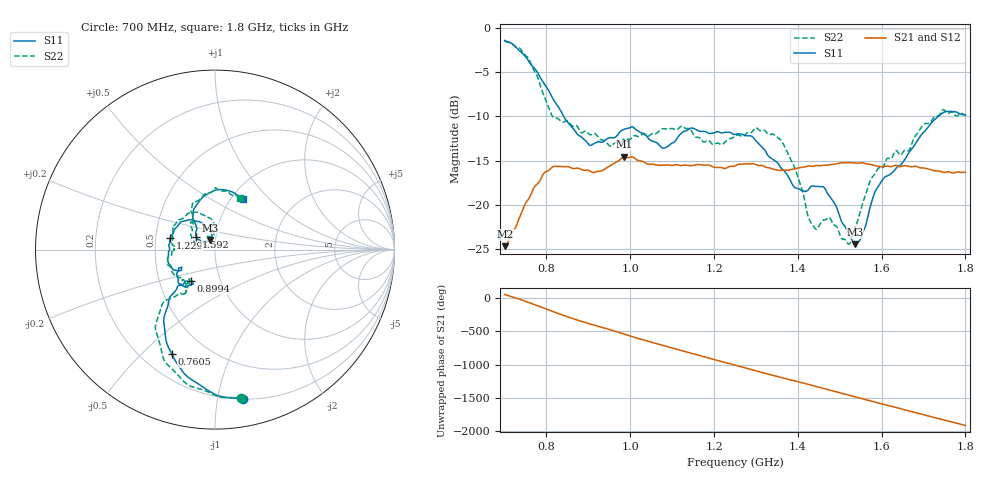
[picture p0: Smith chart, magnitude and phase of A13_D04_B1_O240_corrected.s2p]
! Created with skrf 1.9.0 (http://scikit-rf.org).
# Hz S RI R 50.0
!freq ReS11 ImS11 ReS21 ImS21 ReS12 ImS12 ReS22 ImS22
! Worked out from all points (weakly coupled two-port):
!   1601 points, 700 MHz to 1.8 GHz, reference 50 ohm
!   highest |S21| = -14.57 dB at 986 MHz (marker M1); lowest = -24.7 dB at 701.4 MHz (marker M2)
!   lowest |S11| = -24.5 dB at 1.537 GHz (marker M3), VSWR 1.13, Z = 47.1 + j5.08 ohm
!   |S11| at or under -10 dB: 840.6 MHz to 1.736 GHz (895.1 MHz wide, 69.5 % of centre)
!   |S22| runs from -24.4 to -1.5 dB; largest |S21 - S12| = 0.0034
!   S11 on the Smith chart (normalised r, x): 700 MHz: 0.20, -1.19; 760.5 MHz: 0.32, -0.62; 899.4 MHz: 0.72, -0.27; 1.229 GHz: 0.60, +0.08; 1.592 GHz: 0.80, +0.12; 1.8 GHz: 1.13, +0.71
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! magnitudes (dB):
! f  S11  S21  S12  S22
! 700 MHz  -1.4  -24.6  -24.4  -1.5
! 701.4 MHz  -1.5  -24.7  -24.3  -1.6
! 760.5 MHz  -4.0  -19.1  -18.9  -3.8
! 814.1 MHz  -7.9  -15.7  -15.8  -10.0
! 883.6 MHz  -12.3  -16.0  -15.9  -11.9
! 899.4 MHz  -13.1  -16.1  -16.1  -11.9
! 986 MHz  -11.5  -14.6  -14.7  -12.5
! 1.067 GHz  -13.1  -15.5  -15.5  -11.7
! 1.145 GHz  -11.3  -15.6  -15.6  -11.6
! 1.229 GHz  -11.8  -15.8  -15.7  -12.8
! 1.25 GHz  -12.1  -15.6  -15.5  -12.3
! 1.291 GHz  -12.3  -15.4  -15.4  -11.7
! 1.359 GHz  -15.8  -16.1  -16.1  -12.7
! 1.394 GHz  -18.1  -15.9  -15.9  -16.0
! 1.434 GHz  -17.9  -15.6  -15.6  -22.1
! 1.475 GHz  -19.0  -15.5  -15.5  -21.4
! 1.521 GHz  -23.2  -15.2  -15.2  -24.4
! 1.537 GHz  -24.5  -15.3  -15.3  -22.6
! 1.592 GHz  -17.9  -15.7  -15.6  -15.9
! 1.617 GHz  -16.6  -15.7  -15.6  -14.8
! 1.742 GHz  -9.7  -16.2  -16.2  -9.5
! 1.8 GHz  -9.8  -16.3  -16.3  -9.9
